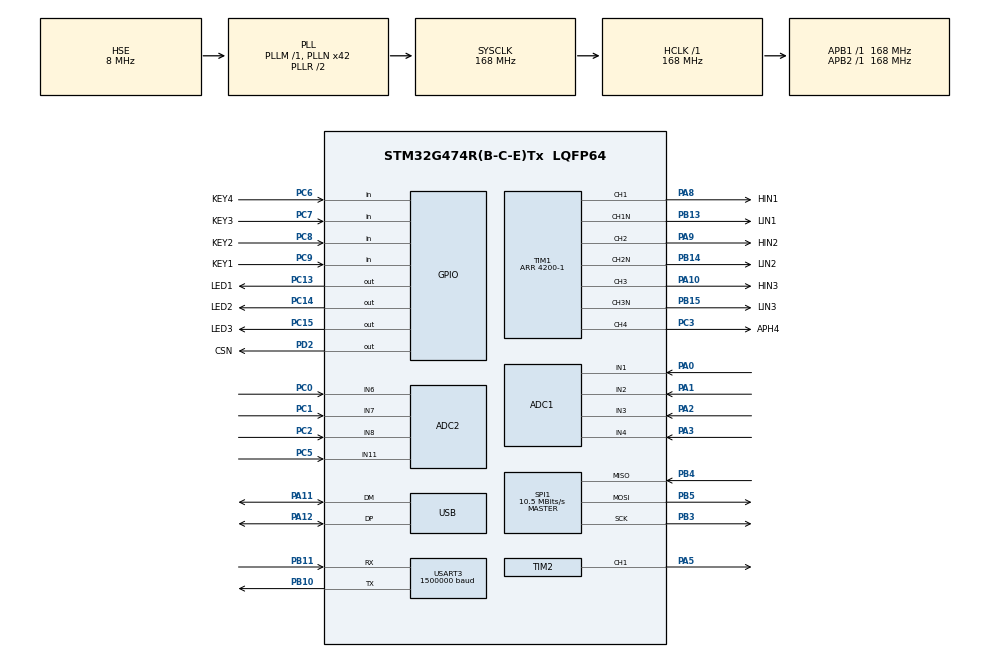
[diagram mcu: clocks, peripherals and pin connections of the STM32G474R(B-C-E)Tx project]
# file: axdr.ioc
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ADC1.Channel-1\#ChannelRegularConversion=ADC_CHANNEL_1
ADC1.EnableInjectedConversion=ENABLE
ADC1.ExternalTrigInjecConv=ADC_EXTERNALTRIGINJEC_T1_CC4
ADC1.ExternalTrigInjecConvEdge=ADC_EXTERNALTRIGINJECCONV_EDGE_FALLING
ADC1.InjNumberOfConversion=4
ADC1.InjectedChannel-2\#ChannelInjectedConversion=ADC_CHANNEL_1
ADC1.InjectedChannel-3\#ChannelInjectedConversion=ADC_CHANNEL_2
ADC1.InjectedChannel-4\#ChannelInjectedConversion=ADC_CHANNEL_3
ADC1.InjectedChannel-5\#ChannelInjectedConversion=ADC_CHANNEL_4
ADC1.InjectedOffsetNumber-2\#ChannelInjectedConversion=ADC_OFFSET_NONE
ADC1.InjectedOffsetNumber-3\#ChannelInjectedConversion=ADC_OFFSET_NONE
ADC1.InjectedOffsetNumber-4\#ChannelInjectedConversion=ADC_OFFSET_NONE
ADC1.InjectedOffsetNumber-5\#ChannelInjectedConversion=ADC_OFFSET_NONE
ADC1.InjectedRank-2\#ChannelInjectedConversion=1
ADC1.InjectedRank-3\#ChannelInjectedConversion=2
ADC1.InjectedRank-4\#ChannelInjectedConversion=3
ADC1.InjectedRank-5\#ChannelInjectedConversion=4
ADC1.InjectedSamplingTime-2\#ChannelInjectedConversion=ADC_SAMPLETIME_2CYCLES_5
ADC1.InjectedSamplingTime-3\#ChannelInjectedConversion=ADC_SAMPLETIME_2CYCLES_5
ADC1.InjectedSamplingTime-4\#ChannelInjectedConversion=ADC_SAMPLETIME_2CYCLES_5
ADC1.InjectedSamplingTime-5\#ChannelInjectedConversion=ADC_SAMPLETIME_2CYCLES_5
ADC1.NbrOfConversionFlag=1
ADC1.OffsetNumber-1\#ChannelRegularConversion=ADC_OFFSET_NONE
ADC1.Rank-1\#ChannelRegularConversion=1
ADC1.Rank4_Channel=ADC_CHANNEL_4
ADC1.SamplingTime-1\#ChannelRegularConversion=ADC_SAMPLETIME_2CYCLES_5
ADC1.master=1
ADC2.Channel-3\#ChannelRegularConversion=ADC_CHANNEL_11
ADC2.EnableInjectedConversion=ENABLE
ADC2.ExternalTrigInjecConv=ADC_EXTERNALTRIGINJEC_T1_CC4
ADC2.ExternalTrigInjecConvEdge=ADC_EXTERNALTRIGINJECCONV_EDGE_FALLING
ADC2.InjNumberOfConversion=4
ADC2.InjectedChannel-4\#ChannelInjectedConversion=ADC_CHANNEL_11
ADC2.InjectedChannel-5\#ChannelInjectedConversion=ADC_CHANNEL_6
ADC2.InjectedChannel-6\#ChannelInjectedConversion=ADC_CHANNEL_7
ADC2.InjectedChannel-7\#ChannelInjectedConversion=ADC_CHANNEL_8
ADC2.InjectedOffsetNumber-4\#ChannelInjectedConversion=ADC_OFFSET_NONE
ADC2.InjectedOffsetNumber-5\#ChannelInjectedConversion=ADC_OFFSET_NONE
ADC2.InjectedOffsetNumber-6\#ChannelInjectedConversion=ADC_OFFSET_NONE
ADC2.InjectedOffsetNumber-7\#ChannelInjectedConversion=ADC_OFFSET_NONE
ADC2.InjectedRank-4\#ChannelInjectedConversion=1
ADC2.InjectedRank-5\#ChannelInjectedConversion=2
ADC2.InjectedRank-6\#ChannelInjectedConversion=3
ADC2.InjectedRank-7\#ChannelInjectedConversion=4
ADC2.InjectedSamplingTime-4\#ChannelInjectedConversion=ADC_SAMPLETIME_2CYCLES_5
ADC2.InjectedSamplingTime-5\#ChannelInjectedConversion=ADC_SAMPLETIME_2CYCLES_5
ADC2.InjectedSamplingTime-6\#ChannelInjectedConversion=ADC_SAMPLETIME_2CYCLES_5
ADC2.InjectedSamplingTime-7\#ChannelInjectedConversion=ADC_SAMPLETIME_2CYCLES_5
ADC2.NbrOfConversionFlag=1
ADC2.OffsetNumber-3\#ChannelRegularConversion=ADC_OFFSET_NONE
ADC2.Rank-3\#ChannelRegularConversion=1
ADC2.Rank1_Channel=ADC_CHANNEL_11
ADC2.Rank2_Channel=ADC_CHANNEL_6
ADC2.Rank3_Channel=ADC_CHANNEL_7
ADC2.Rank4_Channel=ADC_CHANNEL_8
ADC2.SamplingTime-3\#ChannelRegularConversion=ADC_SAMPLETIME_2CYCLES_5
Dma.Request0=USART3_TX
Dma.Request1=SPI1_RX
Dma.Request2=SPI1_TX
Dma.SPI1_RX.1.Direction=DMA_PERIPH_TO_MEMORY
Dma.SPI1_RX.1.EventEnable=DISABLE
Dma.SPI1_RX.1.Instance=DMA1_Channel4
Dma.SPI1_RX.1.MemDataAlignment=DMA_MDATAALIGN_BYTE
Dma.SPI1_RX.1.MemInc=DMA_MINC_ENABLE
Dma.SPI1_RX.1.Mode=DMA_NORMAL
Dma.SPI1_RX.1.PeriphDataAlignment=DMA_PDATAALIGN_BYTE
Dma.SPI1_RX.1.PeriphInc=DMA_PINC_DISABLE
Dma.SPI1_RX.1.Polarity=HAL_DMAMUX_REQ_GEN_RISING
Dma.SPI1_RX.1.Priority=DMA_PRIORITY_HIGH
Dma.SPI1_RX.1.RequestNumber=1
Dma.SPI1_RX.1.SignalID=NONE
Dma.SPI1_RX.1.SyncEnable=DISABLE
Dma.SPI1_RX.1.SyncPolarity=HAL_DMAMUX_SYNC_NO_EVENT
Dma.SPI1_RX.1.SyncRequestNumber=1
Dma.SPI1_RX.1.SyncSignalID=NONE
Dma.SPI1_TX.2.Direction=DMA_MEMORY_TO_PERIPH
Dma.SPI1_TX.2.EventEnable=DISABLE
Dma.SPI1_TX.2.Instance=DMA1_Channel2
Dma.SPI1_TX.2.MemDataAlignment=DMA_MDATAALIGN_BYTE
Dma.SPI1_TX.2.MemInc=DMA_MINC_ENABLE
Dma.SPI1_TX.2.Mode=DMA_NORMAL
Dma.SPI1_TX.2.PeriphDataAlignment=DMA_PDATAALIGN_BYTE
Dma.SPI1_TX.2.PeriphInc=DMA_PINC_DISABLE
Dma.SPI1_TX.2.Polarity=HAL_DMAMUX_REQ_GEN_RISING
Dma.SPI1_TX.2.Priority=DMA_PRIORITY_HIGH
Dma.SPI1_TX.2.RequestNumber=1
Dma.SPI1_TX.2.SignalID=NONE
Dma.SPI1_TX.2.SyncEnable=DISABLE
Dma.SPI1_TX.2.SyncPolarity=HAL_DMAMUX_SYNC_NO_EVENT
Dma.SPI1_TX.2.SyncRequestNumber=1
Dma.SPI1_TX.2.SyncSignalID=NONE
Dma.USART3_TX.0.Direction=DMA_MEMORY_TO_PERIPH
Dma.USART3_TX.0.EventEnable=DISABLE
Dma.USART3_TX.0.Instance=DMA1_Channel3
Dma.USART3_TX.0.MemDataAlignment=DMA_MDATAALIGN_BYTE
Dma.USART3_TX.0.MemInc=DMA_MINC_ENABLE
Dma.USART3_TX.0.Mode=DMA_NORMAL
Dma.USART3_TX.0.PeriphDataAlignment=DMA_PDATAALIGN_BYTE
Dma.USART3_TX.0.PeriphInc=DMA_PINC_DISABLE
Dma.USART3_TX.0.Polarity=HAL_DMAMUX_REQ_GEN_RISING
Dma.USART3_TX.0.Priority=DMA_PRIORITY_LOW
Dma.USART3_TX.0.RequestNumber=1
Dma.USART3_TX.0.SignalID=NONE
Dma.USART3_TX.0.SyncEnable=DISABLE
Dma.USART3_TX.0.SyncPolarity=HAL_DMAMUX_SYNC_NO_EVENT
Dma.USART3_TX.0.SyncRequestNumber=1
Dma.USART3_TX.0.SyncSignalID=NONE
Mcu.Family=STM32G4
Mcu.Name=STM32G474R(B-C-E)Tx
Mcu.Package=LQFP64
NVIC.ADC1_2_IRQn=true\:0\:0\:false\:false\:true\:true\:true\:true
NVIC.DMA1_Channel2_IRQn=true\:1\:0\:true\:false\:true\:false\:true\:true
NVIC.DMA1_Channel3_IRQn=true\:5\:0\:true\:false\:true\:false\:true\:true
NVIC.DMA1_Channel4_IRQn=true\:1\:0\:true\:false\:true\:false\:true\:true
NVIC.PriorityGroup=NVIC_PRIORITYGROUP_4
NVIC.SPI1_IRQn=true\:2\:0\:true\:false\:true\:true\:true\:true
NVIC.TIM2_IRQn=true\:7\:0\:true\:false\:true\:true\:true\:true
NVIC.TIM3_IRQn=true\:5\:0\:true\:false\:true\:true\:true\:true
NVIC.USART3_IRQn=true\:5\:0\:true\:false\:true\:true\:true\:true
NVIC.USB_LP_IRQn=true\:3\:0\:true\:false\:true\:false\:true\:true
PA0.Mode=IN1-Single-Ended
PA0.Signal=ADC1_IN1
PA1.Mode=IN2-Single-Ended
PA1.Signal=ADC1_IN2
PA10.GPIO_Label=HIN3
PA10.Signal=S_TIM1_CH3
PA11.Mode=Device
PA11.Signal=USB_DM
PA12.Mode=Device
PA12.Signal=USB_DP
PA13.Mode=Serial_Wire
PA13.Signal=SYS_JTMS-SWDIO
PA14.Mode=Serial_Wire
PA14.Signal=SYS_JTCK-SWCLK
PA2.Mode=IN3-Single-Ended
PA2.Signal=ADC1_IN3
PA3.Mode=IN4-Single-Ended
PA3.Signal=ADC1_IN4
PA5.Signal=S_TIM2_CH1
PA8.GPIO_Label=HIN1
PA8.Signal=S_TIM1_CH1
PA9.GPIO_Label=HIN2
PA9.Signal=S_TIM1_CH2
PB10.Mode=Asynchronous
PB10.Signal=USART3_TX
PB11.Mode=Asynchronous
PB11.Signal=USART3_RX
PB13.GPIO_Label=LIN1
PB13.Mode=PWM Generation1 CH1 CH1N
PB13.Signal=TIM1_CH1N
PB14.GPIO_Label=LIN2
PB14.Mode=PWM Generation2 CH2 CH2N
PB14.Signal=TIM1_CH2N
PB15.GPIO_Label=LIN3
PB15.Mode=PWM Generation3 CH3 CH3N
PB15.Signal=TIM1_CH3N
PB3.Mode=Full_Duplex_Master
PB3.Signal=SPI1_SCK
PB4.Mode=Full_Duplex_Master
PB4.Signal=SPI1_MISO
PB5.Mode=Full_Duplex_Master
PB5.Signal=SPI1_MOSI
PC0.Mode=IN6-Single-Ended
PC0.Signal=ADC2_IN6
PC1.Mode=IN7-Single-Ended
PC1.Signal=ADC2_IN7
PC13.GPIO_Label=LED1
PC13.Signal=GPIO_Output
PC14-OSC32_IN.GPIO_Label=LED2
PC14-OSC32_IN.Signal=GPIO_Output
PC15-OSC32_OUT.GPIO_Label=LED3
PC15-OSC32_OUT.Signal=GPIO_Output
PC2.Mode=IN8-Single-Ended
PC2.Signal=ADC2_IN8
PC3.GPIO_Label=APH4
PC3.Signal=S_TIM1_CH4
PC5.Mode=IN11-Single-Ended
PC5.Signal=ADC2_IN11
PC6.GPIO_Label=KEY4
PC6.GPIO_PuPd=GPIO_NOPULL
PC6.Signal=GPIO_Input
PC7.GPIO_Label=KEY3
PC7.GPIO_PuPd=GPIO_NOPULL
PC7.Signal=GPIO_Input
PC8.GPIO_Label=KEY2
PC8.GPIO_PuPd=GPIO_NOPULL
PC8.Signal=GPIO_Input
PC9.GPIO_Label=KEY1
PC9.GPIO_PuPd=GPIO_NOPULL
PC9.Signal=GPIO_Input
PD2.GPIO_Label=CSN
PD2.Signal=GPIO_Output
PF0-OSC_IN.Mode=HSE-External-Oscillator
PF0-OSC_IN.Signal=RCC_OSC_IN
PF1-OSC_OUT.Mode=HSE-External-Oscillator
PF1-OSC_OUT.Signal=RCC_OSC_OUT
ProjectManager.HeapSize=0x200
ProjectManager.StackSize=0x1000
ProjectManager.TargetToolchain=MDK-ARM V5.32
RCC.ADC12Freq_Value=168000000
RCC.ADC345Freq_Value=168000000
RCC.AHBFreq_Value=168000000
RCC.APB1Freq_Value=168000000
RCC.APB1TimFreq_Value=168000000
RCC.APB2Freq_Value=168000000
RCC.APB2TimFreq_Value=168000000
RCC.CK48CLockSelection=RCC_USBCLKSOURCE_HSI48
RCC.CortexFreq_Value=168000000
RCC.EXTERNAL_CLOCK_VALUE=12288000
RCC.HCLKFreq_Value=168000000
RCC.HSE_VALUE=8000000
RCC.HSI48_VALUE=48000000
RCC.HSI_VALUE=16000000
RCC.LSE_VALUE=32768
RCC.PLLN=42
RCC.PLLSourceVirtual=RCC_PLLSOURCE_HSE
RCC.SYSCLKFreq_VALUE=168000000
RCC.SYSCLKSource=RCC_SYSCLKSOURCE_PLLCLK
RCC.USBFreq_Value=48000000
RCC.VCOOutputFreq_Value=336000000
SH.S_TIM1_CH1.0=TIM1_CH1,PWM Generation1 CH1 CH1N
SH.S_TIM1_CH2.0=TIM1_CH2,PWM Generation2 CH2 CH2N
SH.S_TIM1_CH3.0=TIM1_CH3,PWM Generation3 CH3 CH3N
SH.S_TIM1_CH4.0=TIM1_CH4,PWM Generation4 CH4
SH.S_TIM2_CH1.0=TIM2_CH1,PWM Generation1 CH1
SPI1.BaudRatePrescaler=SPI_BAUDRATEPRESCALER_16
SPI1.CLKPhase=SPI_PHASE_2EDGE
SPI1.CLKPolarity=SPI_POLARITY_LOW
SPI1.CalculateBaudRate=10.5 MBits/s
SPI1.DataSize=SPI_DATASIZE_8BIT
SPI1.Direction=SPI_DIRECTION_2LINES
SPI1.Mode=SPI_MODE_MASTER
SPI1.VirtualType=VM_MASTER
STMicroelectronics.X-CUBE-ALGOBUILD.1.4.0.LibraryCcDSPOoLibraryJjDSPOoLibrary=true
TIM1.AutoReloadPreload=TIM_AUTORELOAD_PRELOAD_ENABLE
TIM1.AutomaticOutput=TIM_AUTOMATICOUTPUT_ENABLE
TIM1.BreakState=TIM_BREAK_ENABLE
TIM1.Channel-PWM\ Generation1\ CH1\ CH1N=TIM_CHANNEL_1
TIM1.Channel-PWM\ Generation2\ CH2\ CH2N=TIM_CHANNEL_2
TIM1.Channel-PWM\ Generation3\ CH3\ CH3N=TIM_CHANNEL_3
TIM1.Channel-PWM\ Generation4\ CH4=TIM_CHANNEL_4
TIM1.CounterMode=TIM_COUNTERMODE_CENTERALIGNED1
TIM1.DeadTime=34
TIM1.PeriodNoDither=4200-1
TIM1.SourceBRKDigInput=TIM_BREAKINPUTSOURCE_DISABLE
TIM2.Channel-PWM\ Generation1\ CH1=TIM_CHANNEL_1
TIM3.PeriodNoDither=1000-1
TIM3.Prescaler=170-1
USART3.BaudRate=1500000
USART3.VirtualMode-Asynchronous=VM_ASYNC
USB_DEVICE.CLASS_NAME_FS=CDC
USB_DEVICE.VirtualMode=Cdc
USB_DEVICE.VirtualModeFS=Cdc_FS
VP_STMicroelectronics.X-CUBE-ALGOBUILD_VS_DSPOoLibraryJjLibrary_1.4.0_1.4.0.Mode=DSPOoLibraryJjLibrary
VP_SYS_VS_DBSignals.Mode=DisableDeadBatterySignals
VP_TIM1_VS_ClockSourceINT.Mode=Internal
VP_TIM3_VS_ClockSourceINT.Mode=Internal
VP_USB_DEVICE_VS_USB_DEVICE_CDC_FS.Mode=CDC_FS
board=custom

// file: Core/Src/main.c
/* USER CODE BEGIN Header */
/**
 ******************************************************************************
 * @file           : main.c
 * @brief          : Main program body
 ******************************************************************************
 * @attention
 *
 * Copyright (c) 2025 STMicroelectronics.
 * All rights reserved.
 *
 * This software is licensed under terms that can be found in the LICENSE file
 * in the root directory of this software component.
 * If no LICENSE file comes with this software, it is provided AS-IS.
 *
 ******************************************************************************
 */
/* USER CODE END Header */
#include "main.h"
#include "adc.h"
#include "dma.h"
#include "spi.h"
#include "tim.h"
#include "usart.h"
#include "usb_device.h"
#include "gpio.h"

/* USER CODE BEGIN Includes */
#include "mt6701.h"
#include "usbd_cdc_if.h"
#include "vofa.h"
#include "foc_app.h"
#include "utils.h"

/* USER CODE END Includes */

void SystemClock_Config(void);

/* USER CODE BEGIN 0 */
uint32_t ctrl_cmd = 0;
/* USER CODE END 0 */

int main(void)
{

  /* MCU Configuration--------------------------------------------------------*/

  /* Reset of all peripherals, Initializes the Flash interface and the Systick. */
  HAL_Init();

  /* Configure the system clock */
  SystemClock_Config();

  /* Initialize all configured peripherals */
  MX_GPIO_Init();
  MX_DMA_Init();
  MX_TIM3_Init();
  MX_USB_Device_Init();
  MX_TIM1_Init();
  MX_ADC1_Init();
  MX_SPI1_Init();
  MX_USART3_UART_Init();
  MX_ADC2_Init();
  MX_TIM2_Init();
  /* USER CODE BEGIN 2 */
    foc_app_init();
  /* USER CODE END 2 */

  /* Infinite loop */
  /* USER CODE BEGIN WHILE */
    while (1) {
        if (ctrl_cmd != 0) {
            switch (ctrl_cmd) {
                case 0:
                    break;
                case 1:
                    mc_start(&g_axit);
                    break;
                case 2:
                    mc_stop(&g_axit);
                    break;
            }
            ctrl_cmd = 0;
        }
        // mt6701_sampleNow(&g_axit.encoder);
        // HAL_Delay(1);
        // mt6701_update(&g_axit.encoder);
    /* USER CODE END WHILE */

    /* USER CODE BEGIN 3 */
        TIMER_TRIGGER_PUSH(500)
        {
            HAL_GPIO_TogglePin(LED1_GPIO_Port, LED1_Pin);
        }
        TIMER_TRIGGER_POP();
    }
  /* USER CODE END 3 */
}

void SystemClock_Config(void)
{
  RCC_OscInitTypeDef RCC_OscInitStruct = {0};
  RCC_ClkInitTypeDef RCC_ClkInitStruct = {0};

  /** Configure the main internal regulator output voltage
  */
  HAL_PWREx_ControlVoltageScaling(PWR_REGULATOR_VOLTAGE_SCALE1_BOOST);

  /** Initializes the RCC Oscillators according to the specified parameters
  * in the RCC_OscInitTypeDef structure.
  */
  RCC_OscInitStruct.OscillatorType = RCC_OSCILLATORTYPE_HSI48|RCC_OSCILLATORTYPE_HSE;
  RCC_OscInitStruct.HSEState = RCC_HSE_ON;
  RCC_OscInitStruct.HSI48State = RCC_HSI48_ON;
  RCC_OscInitStruct.PLL.PLLState = RCC_PLL_ON;
  RCC_OscInitStruct.PLL.PLLSource = RCC_PLLSOURCE_HSE;
  RCC_OscInitStruct.PLL.PLLM = RCC_PLLM_DIV1;
  RCC_OscInitStruct.PLL.PLLN = 42;
  RCC_OscInitStruct.PLL.PLLP = RCC_PLLP_DIV2;
  RCC_OscInitStruct.PLL.PLLQ = RCC_PLLQ_DIV2;
  RCC_OscInitStruct.PLL.PLLR = RCC_PLLR_DIV2;
  if (HAL_RCC_OscConfig(&RCC_OscInitStruct) != HAL_OK)
  {
    Error_Handler();
  }

  /** Initializes the CPU, AHB and APB buses clocks
  */
  RCC_ClkInitStruct.ClockType = RCC_CLOCKTYPE_HCLK|RCC_CLOCKTYPE_SYSCLK
                              |RCC_CLOCKTYPE_PCLK1|RCC_CLOCKTYPE_PCLK2;
  RCC_ClkInitStruct.SYSCLKSource = RCC_SYSCLKSOURCE_PLLCLK;
  RCC_ClkInitStruct.AHBCLKDivider = RCC_SYSCLK_DIV1;
  RCC_ClkInitStruct.APB1CLKDivider = RCC_HCLK_DIV1;
  RCC_ClkInitStruct.APB2CLKDivider = RCC_HCLK_DIV1;

  if (HAL_RCC_ClockConfig(&RCC_ClkInitStruct, FLASH_LATENCY_4) != HAL_OK)
  {
    Error_Handler();
  }
}

void Error_Handler(void)
{
    __disable_irq();
    while (1) {
    }
}
